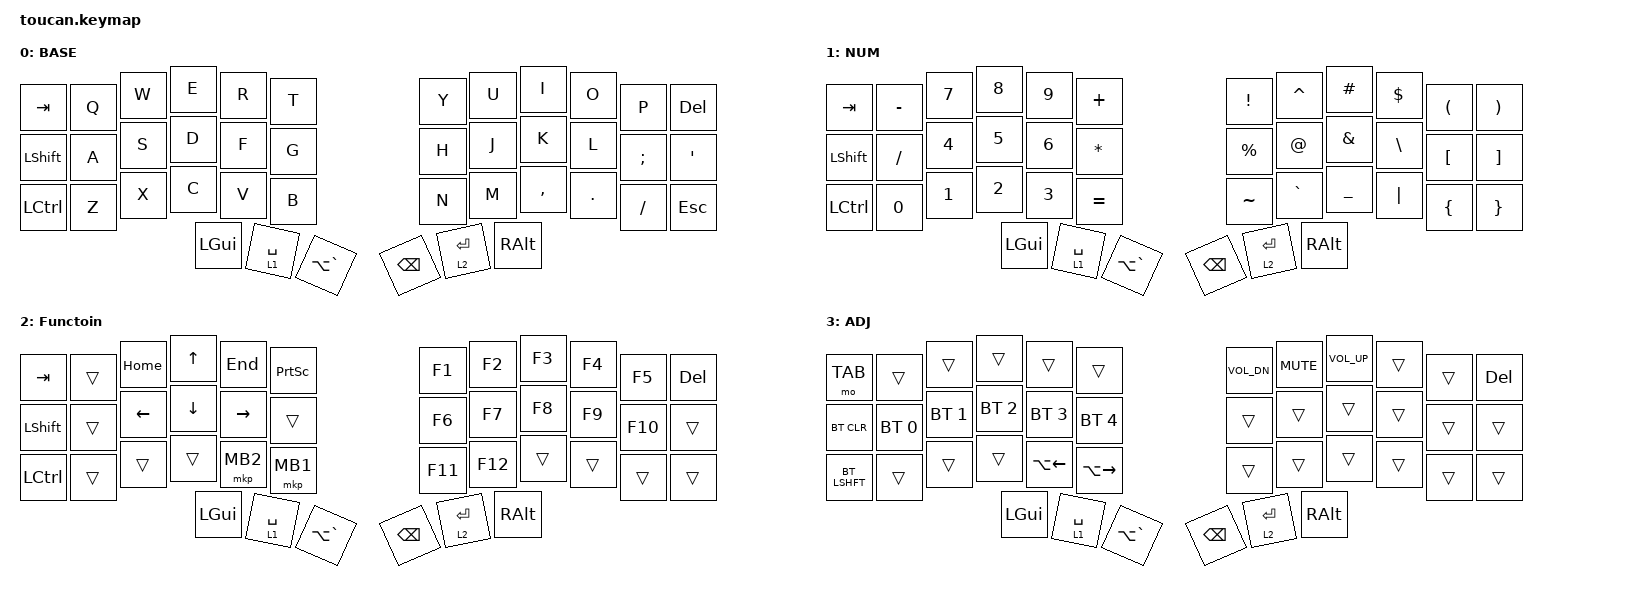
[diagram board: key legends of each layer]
#include <behaviors.dtsi>
#include <dt-bindings/zmk/bt.h>
#include <dt-bindings/zmk/keys.h>
#include <dt-bindings/zmk/pointing.h>

#define BASE 0
#define NAV  1
#define SYM  2
#define ADJ  3

/ {
    conditional_layers {
        compatible = "zmk,conditional-layers";

        tri_layer {
            if-layers = <1 2>;
            then-layer = <3>;
        };
    };

    keymap {
        compatible = "zmk,keymap";

        base {
            display-name = "BASE";
            bindings = <
&kp TAB  &kp Q  &kp W  &kp E  &kp R  &kp T  &kp Y  &kp U  &kp I  &kp O  &kp P  &kp DEL  &kp LSHIFT  &kp A  &kp S  &kp D  &kp F  &kp G  &kp H  &kp J  &kp K  &kp L  &kp SEMI  &kp SQT  &kp LCTRL  &kp Z  &kp X  &kp C  &kp V  &kp B  &kp N  &kp M  &kp COMMA  &kp DOT  &kp FSLH  &kp ESC  &kp LGUI  &lt 1 SPACE  &kp LA(GRAVE)  &kp BACKSPACE  &lt 2 ENTER  &kp RALT
            >;
        };

        num {
            display-name = "NUM";
            bindings = <
&kp TAB  &kp MINUS  &kp N7  &kp N8  &kp NUMBER_9  &kp PLUS  &kp EXCLAMATION  &kp CARET  &kp HASH  &kp DOLLAR  &kp LEFT_PARENTHESIS  &kp RPAR  &kp LEFT_SHIFT  &kp SLASH  &kp NUMBER_4  &kp N5  &kp NUMBER_6  &kp ASTERISK  &kp PERCENT  &kp AT_SIGN  &kp AMPERSAND  &kp BACKSLASH  &kp LEFT_BRACKET  &kp RIGHT_BRACKET  &kp LCTRL  &kp N0  &kp NUMBER_1  &kp NUMBER_2  &kp NUMBER_3  &kp EQUAL  &kp TILDE  &kp GRAVE  &kp UNDERSCORE  &kp PIPE  &kp LEFT_BRACE  &kp RIGHT_BRACE  &kp LGUI  &lt 1 SPACE  &kp LA(GRAVE)  &kp BACKSPACE  &lt 2 ENTER  &kp RALT
            >;
        };

        function {
            display-name = "Functoin";
            bindings = <
&kp TAB  &trans  &kp HOME  &kp UP_ARROW  &kp END  &kp PRINTSCREEN  &kp F1  &kp F2  &kp F3  &kp F4  &kp F5  &kp DEL  &kp LSHIFT  &trans  &kp LEFT_ARROW  &kp DOWN_ARROW  &kp RIGHT_ARROW  &trans  &kp F6  &kp F7  &kp F8  &kp F9  &kp F10  &trans  &kp LCTRL  &trans  &trans  &trans  &mkp MB2  &mkp MB1  &kp F11  &kp F12  &trans  &trans  &trans  &trans  &kp LGUI  &lt 1 SPACE  &kp LA(GRAVE)  &kp BACKSPACE  &lt 2 ENTER  &kp RALT
            >;
        };

        adj {
            display-name = "ADJ";
            bindings = <
&mo TAB  &trans  &trans  &trans  &trans  &trans  &kp C_VOL_DN  &kp C_MUTE  &kp C_VOL_UP  &trans  &trans  &kp DEL  &bt BT_CLR  &bt BT_SEL 0  &bt BT_SEL 1  &bt BT_SEL 2  &bt BT_SEL 3  &bt BT_SEL 4  &trans  &trans  &trans  &trans  &trans  &trans  &bt LSHFT  &trans  &trans  &trans  &kp LA(LEFT_ARROW)  &kp LA(RIGHT_ARROW)  &trans  &trans  &trans  &trans  &trans  &trans  &kp LGUI  &lt 1 SPACE  &kp LA(GRAVE)  &kp BACKSPACE  &lt 2 ENTER  &kp RALT
            >;
        };

        extra_1 { status = "reserved"; };

        extra_2 { status = "reserved"; };

        extra_3 { status = "reserved"; };
    };
};
